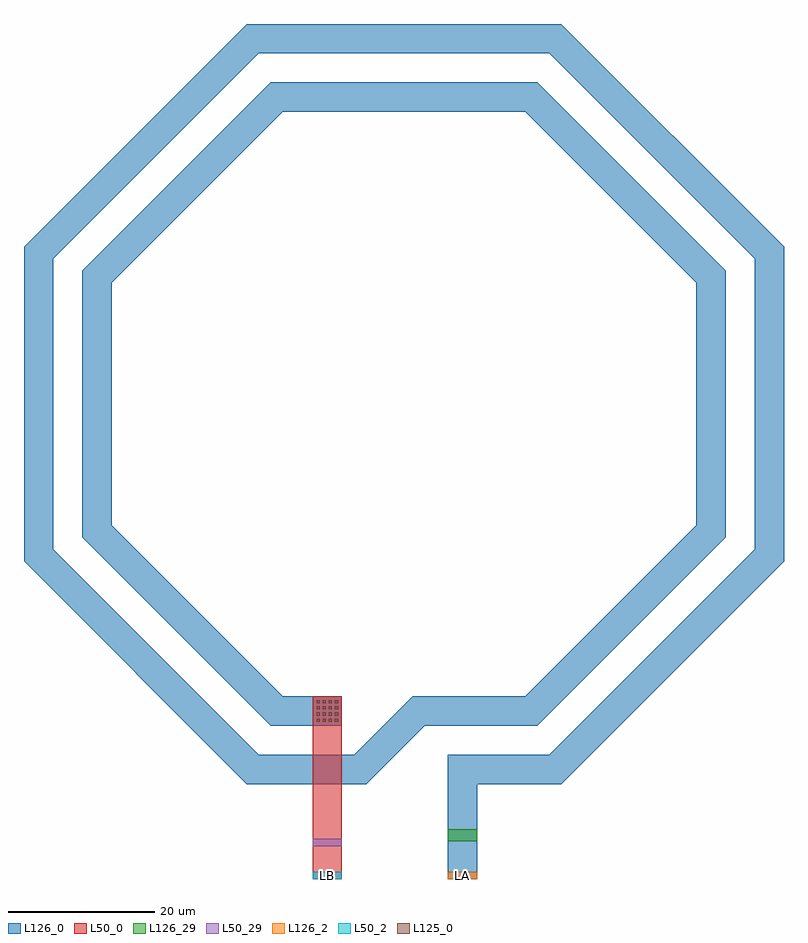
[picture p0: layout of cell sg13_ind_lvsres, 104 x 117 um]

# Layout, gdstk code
import gdstk
lib = gdstk.Library(unit=1e-6, precision=1e-09)
def R(c, l, rs):  # rectangles x0, y0, x1, y1
    for r in rs: c.add(gdstk.rectangle(r[:2], r[2:], *l))
def A(c, l, x, y, w, h, nx, ny, dx, dy):  # array of equal rectangles
    R(c, l, [(x+i*dx, y+j*dy, x+i*dx+w, y+j*dy+h) for i in range(nx) for j in range(ny)])
def P(c, l, *ps):  # polygons
    for p in ps: c.add(gdstk.Polygon(p, *l))
L50_0 = (50, 0)
L50_2 = (50, 2)
L50_29 = (50, 29)
L125_0 = (125, 0)
L126_0 = (126, 0)
L126_2 = (126, 2)
L126_29 = (126, 29)

sg13_ind_lvsres = lib.new_cell('sg13_ind_lvsres')
R(sg13_ind_lvsres, L50_0, [(-12.5,-65,-8.5,-40)])
R(sg13_ind_lvsres, L50_2, [(-12.5,-65,-8.5,-64)])
R(sg13_ind_lvsres, L50_29, [(-12.5,-60.5,-8.5,-59.5)])
A(sg13_ind_lvsres, L125_0, -11.97, -43.47, 0.42, 0.42, 4, 4, 0.84, 0.84)
P(sg13_ind_lvsres, L126_0, [(6,-65),(6,-48),(19.88,-48),(48,-19.88),(48,19.88),(19.88,48),(-19.88,48),(-48,19.88),(-48,-19.88),(-19.88,-48),(-6.83,-48),(1.17,-40),(16.565,-40),(40,-16.565),(40,16.565),(16.565,40),(-16.565,40),(-40,16.565),(-40,-16.565),(-16.565,-40),(-8.5,-40),(-8.5,-44),(-18.225,-44),(-44,-18.225),(-44,18.225),(-18.225,44),(18.225,44),(44,18.225),(44,-18.225),(18.225,-44),(2.83,-44),(-5.17,-52),(-21.54,-52),(-52,-21.54),(-52,21.54),(-21.54,52),(21.54,52),(52,21.54),(52,-21.54),(21.54,-52),(10,-52),(10,-65)])
R(sg13_ind_lvsres, L126_2, [(6,-65,10,-64)])
R(sg13_ind_lvsres, L126_29, [(6,-59.82,10,-58.18)])
sg13_ind_lvsres.add(gdstk.Label('LA', (8,-64.5), layer=126, texttype=25))
sg13_ind_lvsres.add(gdstk.Label('LB', (-10.5,-64.5), layer=50, texttype=25))

lib.write_gds('sg13_ind_lvsres.gds')
